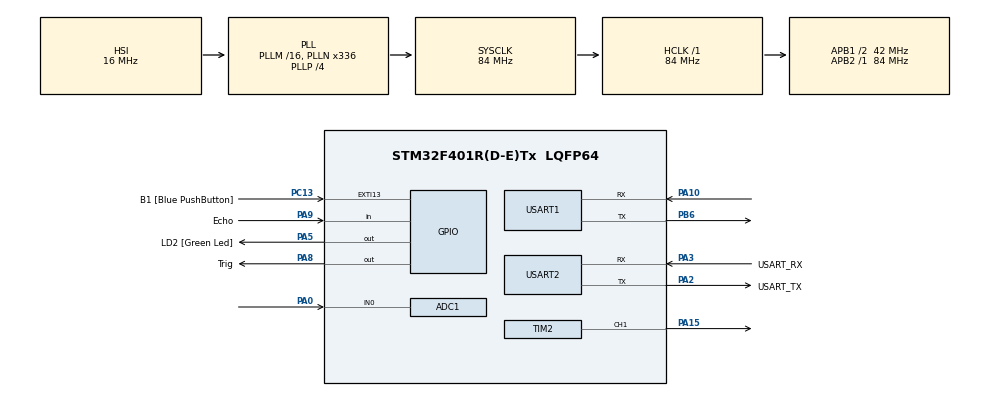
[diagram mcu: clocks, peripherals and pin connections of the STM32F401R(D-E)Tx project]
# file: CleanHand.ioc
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ADC1.Channel-0\#ChannelRegularConversion=ADC_CHANNEL_0
ADC1.NbrOfConversionFlag=1
ADC1.Rank-0\#ChannelRegularConversion=1
ADC1.SamplingTime-0\#ChannelRegularConversion=ADC_SAMPLETIME_3CYCLES
ADC1.master=1
Mcu.Family=STM32F4
Mcu.Name=STM32F401R(D-E)Tx
Mcu.Package=LQFP64
NVIC.PriorityGroup=NVIC_PRIORITYGROUP_0
NVIC.TIM2_IRQn=true\:0\:0\:false\:false\:true\:true\:true
NVIC.USART1_IRQn=true\:0\:0\:false\:false\:true\:true\:true
PA0-WKUP.Signal=ADCx_IN0
PA10.Mode=Asynchronous
PA10.Signal=USART1_RX
PA13.GPIO_Label=TMS
PA13.Mode=Serial_Wire
PA13.Signal=SYS_JTMS-SWDIO
PA14.GPIO_Label=TCK
PA14.Mode=Serial_Wire
PA14.Signal=SYS_JTCK-SWCLK
PA15.Signal=S_TIM2_CH1_ETR
PA2.GPIO_Label=USART_TX
PA2.GPIO_Mode=GPIO_MODE_AF_PP
PA2.GPIO_PuPd=GPIO_NOPULL
PA2.GPIO_Speed=GPIO_SPEED_FREQ_LOW
PA2.Mode=Asynchronous
PA2.Signal=USART2_TX
PA3.GPIO_Label=USART_RX
PA3.GPIO_Mode=GPIO_MODE_AF_PP
PA3.GPIO_PuPd=GPIO_NOPULL
PA3.GPIO_Speed=GPIO_SPEED_FREQ_LOW
PA3.Mode=Asynchronous
PA3.Signal=USART2_RX
PA5.GPIO_Label=LD2 [Green Led]
PA5.GPIO_Mode=GPIO_MODE_OUTPUT_PP
PA5.GPIO_PuPd=GPIO_NOPULL
PA5.GPIO_Speed=GPIO_SPEED_FREQ_LOW
PA5.Signal=GPIO_Output
PA8.GPIO_Label=Trig
PA8.Signal=GPIO_Output
PA9.GPIO_Label=Echo
PA9.Signal=GPIO_Input
PB3.GPIO_Label=SWO
PB3.Signal=SYS_JTDO-SWO
PB6.Mode=Asynchronous
PB6.Signal=USART1_TX
PC13-ANTI_TAMP.GPIO_Label=B1 [Blue PushButton]
PC13-ANTI_TAMP.GPIO_ModeDefaultEXTI=GPIO_MODE_IT_FALLING
PC13-ANTI_TAMP.GPIO_PuPd=GPIO_NOPULL
PC13-ANTI_TAMP.Signal=GPXTI13
PC14-OSC32_IN.Mode=LSE-External-Oscillator
PC14-OSC32_IN.Signal=RCC_OSC32_IN
PC15-OSC32_OUT.Mode=LSE-External-Oscillator
PC15-OSC32_OUT.Signal=RCC_OSC32_OUT
PH0\ -\ OSC_IN.Mode=HSE-External-Clock-Source
PH0\ -\ OSC_IN.Signal=RCC_OSC_IN
PH1\ -\ OSC_OUT.Mode=HSE-External-Clock-Source
PH1\ -\ OSC_OUT.Signal=RCC_OSC_OUT
ProjectManager.HeapSize=0x200
ProjectManager.StackSize=0x400
ProjectManager.TargetToolchain=STM32CubeIDE
RCC.48MHZClocksFreq_Value=48000000
RCC.AHBFreq_Value=84000000
RCC.APB1CLKDivider=RCC_HCLK_DIV2
RCC.APB1Freq_Value=42000000
RCC.APB1TimFreq_Value=84000000
RCC.APB2Freq_Value=84000000
RCC.APB2TimFreq_Value=84000000
RCC.CortexFreq_Value=84000000
RCC.HCLKFreq_Value=84000000
RCC.HSE_VALUE=8000000
RCC.HSI_VALUE=16000000
RCC.PLLN=336
RCC.PLLP=RCC_PLLP_DIV4
RCC.PLLQ=7
RCC.SYSCLKFreq_VALUE=84000000
RCC.SYSCLKSource=RCC_SYSCLKSOURCE_PLLCLK
RCC.VCOOutputFreq_Value=336000000
SH.ADCx_IN0.0=ADC1_IN0,IN0
SH.S_TIM2_CH1_ETR.0=TIM2_CH1,PWM Generation1 CH1
TIM2.Channel-PWM\ Generation1\ CH1=TIM_CHANNEL_1
TIM2.Period=999
TIM2.Prescaler=1679
TIM4.Period=0
TIM4.Prescaler=83
USART1.VirtualMode=VM_ASYNC
USART2.VirtualMode=VM_ASYNC
VP_TIM2_VS_ClockSourceINT.Mode=Internal
VP_TIM4_VS_ClockSourceINT.Mode=Internal
board=NUCLEO-F401RE

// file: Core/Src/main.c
/* USER CODE BEGIN Header */
/**
  ******************************************************************************
  * @file           : main.c
  * @brief          : Main program body
  ******************************************************************************
  * @attention
  *
  * <h2><center>&copy; Copyright (c) 2021 STMicroelectronics.
  * All rights reserved.</center></h2>
  *
  * This software component is licensed by ST under BSD 3-Clause license,
  * the "License"; You may not use this file except in compliance with the
  * License. You may obtain a copy of the License at:
  *                        opensource.org/licenses/BSD-3-Clause
  *
  ******************************************************************************
  */
/* USER CODE END Header */
#include "main.h"

/* USER CODE BEGIN Includes */
#include <string.h>
#include <stdio.h>
/* USER CODE END Includes */

/* USER CODE BEGIN PTD */
#define usTIM  TIM4
/* USER CODE END PTD */

ADC_HandleTypeDef hadc1;

TIM_HandleTypeDef htim2;
TIM_HandleTypeDef htim4;

UART_HandleTypeDef huart1;
UART_HandleTypeDef huart2;

void SystemClock_Config(void);
static void MX_GPIO_Init(void);
static void MX_USART2_UART_Init(void);
static void MX_TIM4_Init(void);
static void MX_ADC1_Init(void);
static void MX_TIM2_Init(void);
static void MX_USART1_UART_Init(void);
/* USER CODE BEGIN PFP */
void usDelay(uint32_t uSec);
/* USER CODE END PFP */

/* USER CODE BEGIN 0 */
const float speedOfSound = 0.0343/2;
float distance;
char uartBuf[100];
int raw;
char msg[20];
uint32_t numTicks;
int currentAlcohol;
int currentDistance;
char c;
int getAlcohol(int n){
	HAL_ADC_Start(&hadc1);
		  HAL_ADC_PollForConversion(&hadc1, HAL_MAX_DELAY);
		  raw = HAL_ADC_GetValue(&hadc1)-n;

		  sprintf(msg,"%d \r\n",raw);
		  HAL_UART_Transmit(&huart2, msg, strlen(msg), HAL_MAX_DELAY);
		  HAL_Delay(100);
		  return raw;
}

float getDistance(){
	 HAL_GPIO_WritePin(Trig_GPIO_Port, Trig_Pin, GPIO_PIN_RESET);
		  usDelay(3);

		  HAL_GPIO_WritePin(Trig_GPIO_Port, Trig_Pin, GPIO_PIN_SET);
		  usDelay(10);
		  HAL_GPIO_WritePin(Trig_GPIO_Port, Trig_Pin, GPIO_PIN_RESET);

		  while(HAL_GPIO_ReadPin(Echo_GPIO_Port, Echo_Pin) == GPIO_PIN_RESET);
		  numTicks = 0 ;
		  while(HAL_GPIO_ReadPin(Echo_GPIO_Port, Echo_Pin) == GPIO_PIN_SET){
			  numTicks++;
			  usDelay(2);
		  }

		  distance = (numTicks + 0.0f) * 2.8 * speedOfSound;

		  sprintf(uartBuf,"Distance(cm): %.1f \r\n ",distance);
		  HAL_UART_Transmit(&huart2, (uint8_t *)uartBuf, strlen(uartBuf), 100);
		  HAL_Delay(100);
		  return distance;
}

void exit(){
	HAL_GPIO_TogglePin(GPIOA,GPIO_PIN_5);
		htim2.Instance->CCR1 = 112;
		HAL_Delay(4000);
		htim2.Instance->CCR1 = 35;
		HAL_Delay(1000);
		HAL_GPIO_TogglePin(GPIOA,GPIO_PIN_5);
}

void openDoor(){
	sprintf(uartBuf,"o");
	HAL_UART_Transmit(&huart1, (uint8_t *)uartBuf, strlen(uartBuf), 100);
	HAL_UART_Transmit(&huart2, (uint8_t *)uartBuf, strlen(uartBuf), 100);
	sprintf(uartBuf,"i");
	HAL_UART_Transmit(&huart1, (uint8_t *)uartBuf, strlen(uartBuf), 100);
	HAL_UART_Transmit(&huart2, (uint8_t *)uartBuf, strlen(uartBuf), 100);
	HAL_GPIO_TogglePin(GPIOA,GPIO_PIN_5);
	htim2.Instance->CCR1 = 112;
	HAL_Delay(4000);
	htim2.Instance->CCR1 = 35;
	HAL_Delay(1000);
	HAL_GPIO_TogglePin(GPIOA,GPIO_PIN_5);

	sprintf(uartBuf,"c");
		HAL_UART_Transmit(&huart1, (uint8_t *)uartBuf, strlen(uartBuf), 100);
		HAL_UART_Transmit(&huart2, (uint8_t *)uartBuf, strlen(uartBuf), 100);
}
/* USER CODE END 0 */

int main(void)
{

  /* MCU Configuration--------------------------------------------------------*/

  /* Reset of all peripherals, Initializes the Flash interface and the Systick. */
  HAL_Init();

  /* Configure the system clock */
  SystemClock_Config();

  /* Initialize all configured peripherals */
  MX_GPIO_Init();
  MX_USART2_UART_Init();
  MX_TIM4_Init();
  MX_ADC1_Init();
  MX_TIM2_Init();
  MX_USART1_UART_Init();
  /* USER CODE BEGIN 2 */
  uint16_t alcoholStart = getAlcohol(0);
  HAL_TIM_PWM_Start(&htim2, TIM_CHANNEL_1);
  /* USER CODE END 2 */

  /* Infinite loop */
  while (1)
  {
	  if(HAL_UART_Receive_IT(&huart1, &c, 1) == HAL_OK){
		  	  if(c == 'd'){
		  		  exit();
		  	  }
	  }
    /* USER CODE BEGIN 3 */
	  currentAlcohol = getAlcohol(alcoholStart);
	  currentDistance = getDistance();
	  if(currentAlcohol > 950 && currentDistance < 30){
		  openDoor();
	  }

  }
  /* USER CODE END 3 */
}

void SystemClock_Config(void)
{
  RCC_OscInitTypeDef RCC_OscInitStruct = {0};
  RCC_ClkInitTypeDef RCC_ClkInitStruct = {0};

  /** Configure the main internal regulator output voltage
  */
  __HAL_RCC_PWR_CLK_ENABLE();
  __HAL_PWR_VOLTAGESCALING_CONFIG(PWR_REGULATOR_VOLTAGE_SCALE2);
  /** Initializes the RCC Oscillators according to the specified parameters
  * in the RCC_OscInitTypeDef structure.
  */
  RCC_OscInitStruct.OscillatorType = RCC_OSCILLATORTYPE_HSI;
  RCC_OscInitStruct.HSIState = RCC_HSI_ON;
  RCC_OscInitStruct.HSICalibrationValue = RCC_HSICALIBRATION_DEFAULT;
  RCC_OscInitStruct.PLL.PLLState = RCC_PLL_ON;
  RCC_OscInitStruct.PLL.PLLSource = RCC_PLLSOURCE_HSI;
  RCC_OscInitStruct.PLL.PLLM = 16;
  RCC_OscInitStruct.PLL.PLLN = 336;
  RCC_OscInitStruct.PLL.PLLP = RCC_PLLP_DIV4;
  RCC_OscInitStruct.PLL.PLLQ = 7;
  if (HAL_RCC_OscConfig(&RCC_OscInitStruct) != HAL_OK)
  {
    Error_Handler();
  }
  /** Initializes the CPU, AHB and APB buses clocks
  */
  RCC_ClkInitStruct.ClockType = RCC_CLOCKTYPE_HCLK|RCC_CLOCKTYPE_SYSCLK
                              |RCC_CLOCKTYPE_PCLK1|RCC_CLOCKTYPE_PCLK2;
  RCC_ClkInitStruct.SYSCLKSource = RCC_SYSCLKSOURCE_PLLCLK;
  RCC_ClkInitStruct.AHBCLKDivider = RCC_SYSCLK_DIV1;
  RCC_ClkInitStruct.APB1CLKDivider = RCC_HCLK_DIV2;
  RCC_ClkInitStruct.APB2CLKDivider = RCC_HCLK_DIV1;

  if (HAL_RCC_ClockConfig(&RCC_ClkInitStruct, FLASH_LATENCY_2) != HAL_OK)
  {
    Error_Handler();
  }
}

static void MX_ADC1_Init(void)
{

  ADC_ChannelConfTypeDef sConfig = {0};

  /** Configure the global features of the ADC (Clock, Resolution, Data Alignment and number of conversion)
  */
  hadc1.Instance = ADC1;
  hadc1.Init.ClockPrescaler = ADC_CLOCK_SYNC_PCLK_DIV4;
  hadc1.Init.Resolution = ADC_RESOLUTION_12B;
  hadc1.Init.ScanConvMode = DISABLE;
  hadc1.Init.ContinuousConvMode = DISABLE;
  hadc1.Init.DiscontinuousConvMode = DISABLE;
  hadc1.Init.ExternalTrigConvEdge = ADC_EXTERNALTRIGCONVEDGE_NONE;
  hadc1.Init.ExternalTrigConv = ADC_SOFTWARE_START;
  hadc1.Init.DataAlign = ADC_DATAALIGN_RIGHT;
  hadc1.Init.NbrOfConversion = 1;
  hadc1.Init.DMAContinuousRequests = DISABLE;
  hadc1.Init.EOCSelection = ADC_EOC_SINGLE_CONV;
  if (HAL_ADC_Init(&hadc1) != HAL_OK)
  {
    Error_Handler();
  }
  /** Configure for the selected ADC regular channel its corresponding rank in the sequencer and its sample time.
  */
  sConfig.Channel = ADC_CHANNEL_0;
  sConfig.Rank = 1;
  sConfig.SamplingTime = ADC_SAMPLETIME_3CYCLES;
  if (HAL_ADC_ConfigChannel(&hadc1, &sConfig) != HAL_OK)
  {
    Error_Handler();
  }

}

static void MX_TIM2_Init(void)
{

  TIM_ClockConfigTypeDef sClockSourceConfig = {0};
  TIM_MasterConfigTypeDef sMasterConfig = {0};
  TIM_OC_InitTypeDef sConfigOC = {0};

  htim2.Instance = TIM2;
  htim2.Init.Prescaler = 1679;
  htim2.Init.CounterMode = TIM_COUNTERMODE_UP;
  htim2.Init.Period = 999;
  htim2.Init.ClockDivision = TIM_CLOCKDIVISION_DIV1;
  htim2.Init.AutoReloadPreload = TIM_AUTORELOAD_PRELOAD_DISABLE;
  if (HAL_TIM_Base_Init(&htim2) != HAL_OK)
  {
    Error_Handler();
  }
  sClockSourceConfig.ClockSource = TIM_CLOCKSOURCE_INTERNAL;
  if (HAL_TIM_ConfigClockSource(&htim2, &sClockSourceConfig) != HAL_OK)
  {
    Error_Handler();
  }
  if (HAL_TIM_PWM_Init(&htim2) != HAL_OK)
  {
    Error_Handler();
  }
  sMasterConfig.MasterOutputTrigger = TIM_TRGO_RESET;
  sMasterConfig.MasterSlaveMode = TIM_MASTERSLAVEMODE_DISABLE;
  if (HAL_TIMEx_MasterConfigSynchronization(&htim2, &sMasterConfig) != HAL_OK)
  {
    Error_Handler();
  }
  sConfigOC.OCMode = TIM_OCMODE_PWM1;
  sConfigOC.Pulse = 0;
  sConfigOC.OCPolarity = TIM_OCPOLARITY_HIGH;
  sConfigOC.OCFastMode = TIM_OCFAST_DISABLE;
  if (HAL_TIM_PWM_ConfigChannel(&htim2, &sConfigOC, TIM_CHANNEL_1) != HAL_OK)
  {
    Error_Handler();
  }
  HAL_TIM_MspPostInit(&htim2);

}

static void MX_TIM4_Init(void)
{

  TIM_ClockConfigTypeDef sClockSourceConfig = {0};
  TIM_MasterConfigTypeDef sMasterConfig = {0};

  htim4.Instance = TIM4;
  htim4.Init.Prescaler = 83;
  htim4.Init.CounterMode = TIM_COUNTERMODE_UP;
  htim4.Init.Period = 0;
  htim4.Init.ClockDivision = TIM_CLOCKDIVISION_DIV1;
  htim4.Init.AutoReloadPreload = TIM_AUTORELOAD_PRELOAD_DISABLE;
  if (HAL_TIM_Base_Init(&htim4) != HAL_OK)
  {
    Error_Handler();
  }
  sClockSourceConfig.ClockSource = TIM_CLOCKSOURCE_INTERNAL;
  if (HAL_TIM_ConfigClockSource(&htim4, &sClockSourceConfig) != HAL_OK)
  {
    Error_Handler();
  }
  sMasterConfig.MasterOutputTrigger = TIM_TRGO_RESET;
  sMasterConfig.MasterSlaveMode = TIM_MASTERSLAVEMODE_DISABLE;
  if (HAL_TIMEx_MasterConfigSynchronization(&htim4, &sMasterConfig) != HAL_OK)
  {
    Error_Handler();
  }

}

static void MX_USART1_UART_Init(void)
{

  huart1.Instance = USART1;
  huart1.Init.BaudRate = 115200;
  huart1.Init.WordLength = UART_WORDLENGTH_8B;
  huart1.Init.StopBits = UART_STOPBITS_1;
  huart1.Init.Parity = UART_PARITY_NONE;
  huart1.Init.Mode = UART_MODE_TX_RX;
  huart1.Init.HwFlowCtl = UART_HWCONTROL_NONE;
  huart1.Init.OverSampling = UART_OVERSAMPLING_16;
  if (HAL_UART_Init(&huart1) != HAL_OK)
  {
    Error_Handler();
  }

}

static void MX_USART2_UART_Init(void)
{

  huart2.Instance = USART2;
  huart2.Init.BaudRate = 115200;
  huart2.Init.WordLength = UART_WORDLENGTH_8B;
  huart2.Init.StopBits = UART_STOPBITS_1;
  huart2.Init.Parity = UART_PARITY_NONE;
  huart2.Init.Mode = UART_MODE_TX_RX;
  huart2.Init.HwFlowCtl = UART_HWCONTROL_NONE;
  huart2.Init.OverSampling = UART_OVERSAMPLING_16;
  if (HAL_UART_Init(&huart2) != HAL_OK)
  {
    Error_Handler();
  }

}

static void MX_GPIO_Init(void)
{
  GPIO_InitTypeDef GPIO_InitStruct = {0};

  /* GPIO Ports Clock Enable */
  __HAL_RCC_GPIOC_CLK_ENABLE();
  __HAL_RCC_GPIOH_CLK_ENABLE();
  __HAL_RCC_GPIOA_CLK_ENABLE();
  __HAL_RCC_GPIOB_CLK_ENABLE();

  /*Configure GPIO pin Output Level */
  HAL_GPIO_WritePin(GPIOA, LD2_Pin|Trig_Pin, GPIO_PIN_RESET);

  /*Configure GPIO pin : B1_Pin */
  GPIO_InitStruct.Pin = B1_Pin;
  GPIO_InitStruct.Mode = GPIO_MODE_IT_FALLING;
  GPIO_InitStruct.Pull = GPIO_NOPULL;
  HAL_GPIO_Init(B1_GPIO_Port, &GPIO_InitStruct);

  /*Configure GPIO pins : LD2_Pin Trig_Pin */
  GPIO_InitStruct.Pin = LD2_Pin|Trig_Pin;
  GPIO_InitStruct.Mode = GPIO_MODE_OUTPUT_PP;
  GPIO_InitStruct.Pull = GPIO_NOPULL;
  GPIO_InitStruct.Speed = GPIO_SPEED_FREQ_LOW;
  HAL_GPIO_Init(GPIOA, &GPIO_InitStruct);

  /*Configure GPIO pin : Echo_Pin */
  GPIO_InitStruct.Pin = Echo_Pin;
  GPIO_InitStruct.Mode = GPIO_MODE_INPUT;
  GPIO_InitStruct.Pull = GPIO_NOPULL;
  HAL_GPIO_Init(Echo_GPIO_Port, &GPIO_InitStruct);

}

/* USER CODE BEGIN 4 */
void usDelay(uint32_t uSec){
	if(uSec <2) uSec = 2;
	usTIM->ARR = uSec -1;
	usTIM->EGR = 1;
	usTIM->SR &= ~1;
	usTIM->CR1 |= 1;
	while(usTIM->SR&0x0001 != 1);
	usTIM->SR &= ~(0x0001);
}

/* USER CODE END 4 */

void Error_Handler(void)
{
  __disable_irq();
  while (1)
  {
  }
}

/************************ (C) COPYRIGHT STMicroelectronics *****END OF FILE****/
